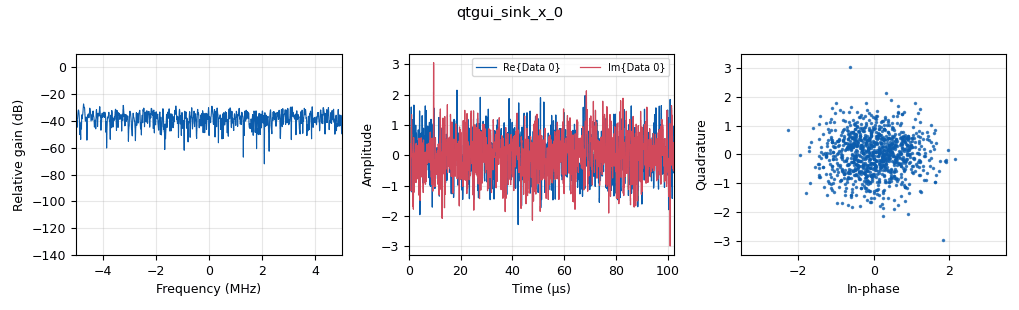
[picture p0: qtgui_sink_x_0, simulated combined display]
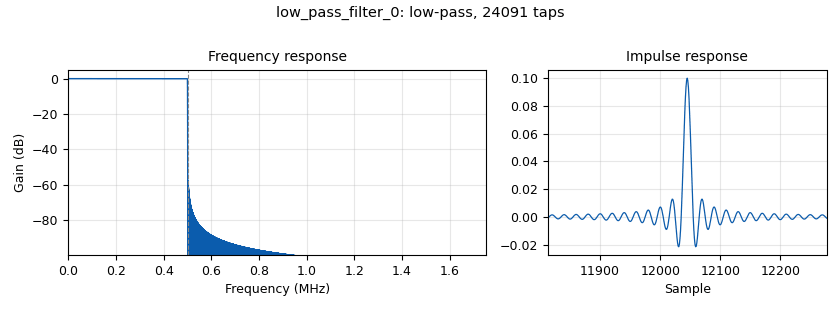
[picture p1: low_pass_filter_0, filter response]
<?xml version='1.0' encoding='utf-8'?>
<?grc format='1' created='3.7.12'?>
<flow_graph>
<block>
<key>options</key>
<param><key>id</key><value>try_block</value></param>
<param><key>generate_options</key><value>qt_gui</value></param>
</block>
<block>
<key>variable</key>
<param><key>id</key><value>bps</value></param>
<param><key>value</key><value>4</value></param>
</block>
<block>
<key>variable</key>
<param><key>id</key><value>samp_rate</value></param>
<param><key>value</key><value>int(0.5E6)</value></param>
</block>
<block>
<key>variable</key>
<param><key>id</key><value>sps</value></param>
<param><key>value</key><value>10</value></param>
</block>
<block>
<key>variable</key>
<param><key>id</key><value>upsamp_rate</value></param>
<param><key>value</key><value>samp_rate * 8 * sps / bps</value></param>
</block>
<block>
<key>variable_constellation</key>
<param><key>id</key><value>variable_constellation_1</value></param>
<param><key>type</key><value>16qam</value></param>
<param><key>precision</key><value>8</value></param>
</block>
<block>
<key>variable_constellation</key>
<param><key>id</key><value>variable_constellation_2</value></param>
<param><key>type</key><value>16qam</value></param>
<param><key>precision</key><value>8</value></param>
</block>
<block>
<key>analog_const_source_x</key>
<param><key>id</key><value>analog_const_source_x_0</value></param>
<param><key>const</key><value>0</value></param>
<param><key>type</key><value>float</value></param>
</block>
<block>
<key>analog_random_source_x</key>
<param><key>id</key><value>analog_random_source_x_0</value></param>
<param><key>max</key><value>255</value></param>
<param><key>min</key><value>0</value></param>
<param><key>num_samps</key><value>10000000</value></param>
<param><key>type</key><value>byte</value></param>
<param><key>repeat</key><value>True</value></param>
</block>
<block>
<key>analog_random_source_x</key>
<param><key>id</key><value>analog_random_source_x_1</value></param>
<param><key>max</key><value>255</value></param>
<param><key>min</key><value>0</value></param>
<param><key>num_samps</key><value>10000000</value></param>
<param><key>type</key><value>byte</value></param>
<param><key>repeat</key><value>True</value></param>
</block>
<block>
<key>analog_sig_source_x</key>
<param><key>id</key><value>analog_sig_source_x_1</value></param>
<param><key>amp</key><value>0</value></param>
<param><key>freq</key><value>-1</value></param>
<param><key>offset</key><value>0</value></param>
<param><key>type</key><value>float</value></param>
<param><key>samp_rate</key><value>upsamp_rate</value></param>
<param><key>waveform</key><value>analog.GR_SQR_WAVE</value></param>
</block>
<block>
<key>blocks_add_xx</key>
<param><key>id</key><value>blocks_add_xx_0</value></param>
<param><key>type</key><value>complex</value></param>
</block>
<block>
<key>blocks_delay</key>
<param><key>id</key><value>blocks_delay_0</value></param>
<param><key>delay</key><value>5000000</value></param>
<param><key>type</key><value>complex</value></param>
</block>
<block>
<key>blocks_float_to_complex</key>
<param><key>id</key><value>blocks_float_to_complex_0</value></param>
</block>
<block>
<key>blocks_head</key>
<param><key>id</key><value>blocks_head_0_0</value></param>
<param><key>num_items</key><value>10000000</value></param>
<param><key>type</key><value>complex</value></param>
</block>
<block>
<key>blocks_multiply_const_vxx</key>
<param><key>id</key><value>blocks_multiply_const_vxx_0</value></param>
<param><key>const</key><value>10</value></param>
<param><key>type</key><value>complex</value></param>
</block>
<block>
<key>blocks_multiply_xx</key>
<param><key>id</key><value>blocks_multiply_xx_1</value></param>
<param><key>type</key><value>complex</value></param>
</block>
<block>
<key>blocks_skiphead</key>
<param><key>id</key><value>blocks_skiphead_0_0</value></param>
<param><key>num_items</key><value>1024</value></param>
<param><key>type</key><value>complex</value></param>
</block>
<block>
<key>blocks_throttle</key>
<param><key>id</key><value>blocks_throttle_0</value></param>
<param><key>samples_per_second</key><value>samp_rate</value></param>
<param><key>type</key><value>byte</value></param>
</block>
<block>
<key>blocks_throttle</key>
<param><key>id</key><value>blocks_throttle_1</value></param>
<param><key>samples_per_second</key><value>samp_rate</value></param>
<param><key>type</key><value>byte</value></param>
</block>
<block>
<key>channels_channel_model</key>
<param><key>id</key><value>channels_channel_model_0</value></param>
<param><key>epsilon</key><value>1.0</value></param>
<param><key>freq_offset</key><value>0.0</value></param>
<param><key>noise_voltage</key><value>1</value></param>
<param><key>seed</key><value>0</value></param>
<param><key>taps</key><value>1+1j</value></param>
</block>
<block>
<key>channels_fading_model</key>
<param><key>id</key><value>channels_fading_model_1</value></param>
<param><key>LOS</key><value>False</value></param>
<param><key>fDTs</key><value>0</value></param>
<param><key>N</key><value>8</value></param>
<param><key>seed</key><value>0</value></param>
</block>
<block>
<key>digital_constellation_modulator</key>
<param><key>id</key><value>digital_constellation_modulator_0</value></param>
<param><key>constellation</key><value>variable_constellation_1</value></param>
<param><key>differential</key><value>True</value></param>
<param><key>excess_bw</key><value>0.35</value></param>
<param><key>samples_per_symbol</key><value>sps</value></param>
</block>
<block>
<key>digital_constellation_modulator</key>
<param><key>id</key><value>digital_constellation_modulator_1</value></param>
<param><key>constellation</key><value>variable_constellation_1</value></param>
<param><key>differential</key><value>True</value></param>
<param><key>excess_bw</key><value>0.35</value></param>
<param><key>samples_per_symbol</key><value>sps</value></param>
</block>
<block>
<key>low_pass_filter</key>
<param><key>id</key><value>low_pass_filter_0</value></param>
<param><key>cutoff_freq</key><value>0.5e6</value></param>
<param><key>decim</key><value>1</value></param>
<param><key>type</key><value>fir_filter_ccf</value></param>
<param><key>gain</key><value>1</value></param>
<param><key>samp_rate</key><value>upsamp_rate</value></param>
<param><key>width</key><value>1000</value></param>
<param><key>win</key><value>firdes.WIN_HAMMING</value></param>
</block>
<block>
<key>qtgui_sink_x</key>
<param><key>id</key><value>qtgui_sink_x_0</value></param>
<param><key>bw</key><value>upsamp_rate</value></param>
<param><key>fc</key><value>0</value></param>
<param><key>freqchangevar</key><value>None</value></param>
<param><key>fftsize</key><value>1024</value></param>
<param><key>showports</key><value>True</value></param>
<param><key>type</key><value>complex</value></param>
<param><key>wintype</key><value>firdes.WIN_BLACKMAN_hARRIS</value></param>
</block>
<block>
<key>rational_resampler_xxx</key>
<param><key>id</key><value>rational_resampler_xxx_0</value></param>
<param><key>decim</key><value>1</value></param>
<param><key>interp</key><value>10</value></param>
<param><key>taps</key><value></value></param>
<param><key>type</key><value>ccc</value></param>
</block>
<block>
<key>rational_resampler_xxx</key>
<param><key>id</key><value>rational_resampler_xxx_1</value></param>
<param><key>decim</key><value>1</value></param>
<param><key>interp</key><value>10</value></param>
<param><key>taps</key><value></value></param>
<param><key>type</key><value>ccc</value></param>
</block>
<connection><source_block_id>analog_const_source_x_0</source_block_id><sink_block_id>blocks_float_to_complex_0</sink_block_id><source_key>0</source_key><sink_key>1</sink_key></connection>
<connection><source_block_id>analog_random_source_x_0</source_block_id><sink_block_id>blocks_throttle_0</sink_block_id><source_key>0</source_key><sink_key>0</sink_key></connection>
<connection><source_block_id>analog_random_source_x_1</source_block_id><sink_block_id>blocks_throttle_1</sink_block_id><source_key>0</source_key><sink_key>0</sink_key></connection>
<connection><source_block_id>analog_sig_source_x_1</source_block_id><sink_block_id>blocks_float_to_complex_0</sink_block_id><source_key>0</source_key><sink_key>0</sink_key></connection>
<connection><source_block_id>blocks_add_xx_0</source_block_id><sink_block_id>channels_channel_model_0</sink_block_id><source_key>0</source_key><sink_key>0</sink_key></connection>
<connection><source_block_id>blocks_delay_0</source_block_id><sink_block_id>blocks_add_xx_0</sink_block_id><source_key>0</source_key><sink_key>1</sink_key></connection>
<connection><source_block_id>blocks_float_to_complex_0</source_block_id><sink_block_id>blocks_multiply_xx_1</sink_block_id><source_key>0</source_key><sink_key>1</sink_key></connection>
<connection><source_block_id>blocks_head_0_0</source_block_id><sink_block_id>qtgui_sink_x_0</sink_block_id><source_key>0</source_key><sink_key>0</sink_key></connection>
<connection><source_block_id>blocks_multiply_const_vxx_0</source_block_id><sink_block_id>blocks_delay_0</sink_block_id><source_key>0</source_key><sink_key>0</sink_key></connection>
<connection><source_block_id>blocks_multiply_xx_1</source_block_id><sink_block_id>channels_fading_model_1</sink_block_id><source_key>0</source_key><sink_key>0</sink_key></connection>
<connection><source_block_id>blocks_skiphead_0_0</source_block_id><sink_block_id>blocks_head_0_0</sink_block_id><source_key>0</source_key><sink_key>0</sink_key></connection>
<connection><source_block_id>blocks_throttle_0</source_block_id><sink_block_id>digital_constellation_modulator_0</sink_block_id><source_key>0</source_key><sink_key>0</sink_key></connection>
<connection><source_block_id>blocks_throttle_1</source_block_id><sink_block_id>digital_constellation_modulator_1</sink_block_id><source_key>0</source_key><sink_key>0</sink_key></connection>
<connection><source_block_id>channels_channel_model_0</source_block_id><sink_block_id>blocks_skiphead_0_0</sink_block_id><source_key>0</source_key><sink_key>0</sink_key></connection>
<connection><source_block_id>channels_fading_model_1</source_block_id><sink_block_id>blocks_add_xx_0</sink_block_id><source_key>0</source_key><sink_key>0</sink_key></connection>
<connection><source_block_id>digital_constellation_modulator_0</source_block_id><sink_block_id>rational_resampler_xxx_1</sink_block_id><source_key>0</source_key><sink_key>0</sink_key></connection>
<connection><source_block_id>digital_constellation_modulator_1</source_block_id><sink_block_id>rational_resampler_xxx_0</sink_block_id><source_key>0</source_key><sink_key>0</sink_key></connection>
<connection><source_block_id>low_pass_filter_0</source_block_id><sink_block_id>blocks_multiply_xx_1</sink_block_id><source_key>0</source_key><sink_key>0</sink_key></connection>
<connection><source_block_id>rational_resampler_xxx_0</source_block_id><sink_block_id>low_pass_filter_0</sink_block_id><source_key>0</source_key><sink_key>0</sink_key></connection>
<connection><source_block_id>rational_resampler_xxx_1</source_block_id><sink_block_id>blocks_multiply_const_vxx_0</sink_block_id><source_key>0</source_key><sink_key>0</sink_key></connection>
</flow_graph>
